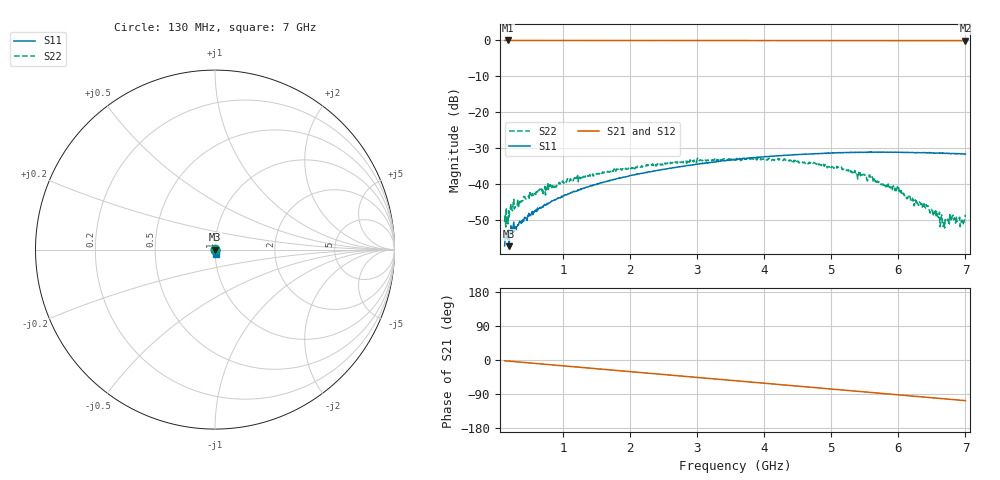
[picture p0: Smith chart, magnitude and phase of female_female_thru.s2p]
# Hz S RI R 50.000000
! Metas.Vna.Tools, 2.8.8664.20301
! Metas.Vna.Data, 2.8.8664.20285
! Created: UTC 2024.02.13 19:13:52
! FREQ  re:S1,1  im:S1,1  re:S2,1  im:S2,1  re:S1,2  im:S1,2  re:S2,2  im:S2,2
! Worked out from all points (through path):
!   801 points, 130 MHz to 7 GHz, reference 50 ohm
!   highest |S21| = 0.00 dB at 181.5 MHz (marker M1); lowest = 0.0 dB at 7 GHz (marker M2)
!   group delay of S21, straight-line fit = 42.5 ps
!   lowest |S11| = -57.4 dB at 198.7 MHz (marker M3), VSWR 1.00, Z = 49.9 + j0.053 ohm
!   |S11| at or under -10 dB: start of sweep to end of sweep
!   |S22| runs from -52.3 to -32.7 dB; largest |S21 - S12| = 0
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1.3e8  -0.0013 0.000428  0.9992 -0.0354  0.9992 -0.0354  0.00186 0.00226
1.81525e8  -0.00137 0.000942  0.9989 -0.0483  0.9989 -0.0483  0.00197 0.00195
1.987e8  -0.00124 0.000531  0.998 -0.0531  0.998 -0.0531  0.00228 0.0026
2.416375e8  -0.00189 0.000674  0.9973 -0.0648  0.9973 -0.0648  0.00271 0.00327
6.366625e8  -0.00225 0.00386  0.9846 -0.1697  0.9846 -0.1697  0.0041 0.00704
1.280725e9  0.000367 0.00857  0.9405 -0.3361  0.9405 -0.3361  0.00604 0.0107
1.795975e9  0.00387 0.0111  0.8852 -0.4618  0.8852 -0.4618  0.00765 0.0143
2.422862e9  0.00913 0.0125  0.7955 -0.6026  0.7955 -0.6026  0.00993 0.0154
3.032575e9  0.015 0.0116  0.6869 -0.7234  0.6869 -0.7234  0.0123 0.0171
3.565e9  0.0198 0.00864  0.5775 -0.8129  0.5775 -0.8129  0.0129 0.0172
4.21765e9  0.0246 0.00286  0.4277 -0.9002  0.4277 -0.9002  0.0135 0.0166
4.715725e9  0.026 -0.00333  0.304 -0.9488  0.304 -0.9488  0.0132 0.0151
5.462838e9  0.0242 -0.0133  0.1095 -0.9897  0.1095 -0.9897  0.00962 0.00934
5.857862e9  0.0205 -0.0185  0.00454 -0.9952  0.00454 -0.9952  0.00654 0.00582
6.012438e9  0.0187 -0.0202  -0.0366 -0.9948  -0.0366 -0.9948  0.00627 0.00475
6.20995e9  0.016 -0.0221  -0.0892 -0.9911  -0.0892 -0.9911  0.00565 0.00279
6.41605e9  0.0127 -0.024  -0.1437 -0.9847  -0.1437 -0.9847  0.00489 0.00154
6.579212e9  0.0104 -0.0248  -0.1862 -0.9774  -0.1862 -0.9774  0.00374 -9.63e-05
6.6565e9  0.00918 -0.0249  -0.2064 -0.9734  -0.2064 -0.9734  0.00277 3.78e-05
6.802488e9  0.00687 -0.0257  -0.2447 -0.9642  -0.2447 -0.9642  0.00316 -0.00151
6.957062e9  0.00437 -0.0258  -0.2844 -0.9533  -0.2844 -0.9533  0.00201 -0.00234
7e9  0.00361 -0.026  -0.2949 -0.9496  -0.2949 -0.9496  0.00226 -0.00293
